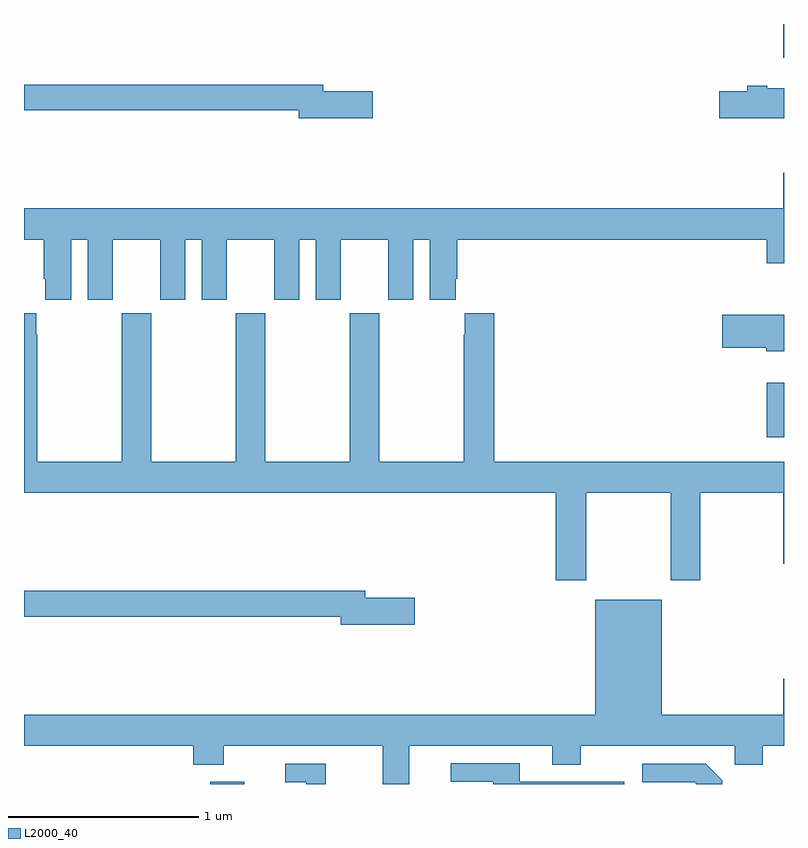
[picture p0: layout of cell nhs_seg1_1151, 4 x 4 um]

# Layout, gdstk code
import gdstk
lib = gdstk.Library(unit=1e-6, precision=1e-09)
def R(c, l, rs):  # rectangles x0, y0, x1, y1
    for r in rs: c.add(gdstk.rectangle(r[:2], r[2:], *l))
def P(c, l, *ps):  # polygons
    for p in ps: c.add(gdstk.Polygon(p, *l))
L2000_40 = (2000, 40)

nhs_seg1_1151 = lib.new_cell('nhs_seg1_1151')
R(nhs_seg1_1151, L2000_40, [(173.981,550.199,174.16,550.21), (176.909,552.024,177,552.31), (176.996,554.022,177,554.199)])
P(nhs_seg1_1151, L2000_40, [(174.835,553.844),(174.574,553.844),(174.574,553.88),(173,553.88),(173,553.744),(174.446,553.744),(174.446,553.702),(174.835,553.702)],
  [(177,553.861),(176.911,553.861),(176.911,553.874),(176.807,553.874),(176.807,553.844),(176.658,553.844),(176.658,553.702),(177,553.702)],
  [(173,553.064),(173.105,553.064),(173.105,552.859),(173.111,552.859),(173.111,552.747),(173.248,552.747),(173.248,553.064),(173.336,553.064),(173.336,552.747),(173.467,552.747),(173.467,553.064),(173.717,553.064),(173.717,552.747),(173.848,552.747),(173.848,553.064),(173.936,553.064),(173.936,552.747),(174.067,552.747),(174.067,553.064),(174.317,553.064),(174.317,552.747),(174.448,552.747),(174.448,553.064),(174.536,553.064),(174.536,552.747),(174.667,552.747),(174.667,553.064),(174.917,553.064),(174.917,552.747),(175.048,552.747),(175.048,553.064),(175.136,553.064),(175.136,552.747),(175.273,552.747),(175.273,552.859),(175.28,552.859),(175.28,553.064),(176.909,553.064),(176.909,552.94),(177,552.94),(177,553.417),(176.996,553.417),(176.996,553.228),(173,553.228)],
  [(177,552.67),(176.676,552.67),(176.676,552.494),(176.906,552.494),(176.906,552.476),(177,552.476)],
  [(175.475,552.676),(175.319,552.676),(175.319,552.563),(175.315,552.563),(175.315,551.896),(174.87,551.896),(174.87,552.676),(174.715,552.676),(174.715,551.896),(174.27,551.896),(174.27,552.676),(174.115,552.676),(174.115,551.896),(173.67,551.896),(173.67,552.676),(173.515,552.676),(173.515,551.896),(173.07,551.896),(173.07,552.563),(173.065,552.563),(173.065,552.676),(173,552.676),(173,551.732),(175.799,551.732),(175.799,551.271),(175.959,551.271),(175.959,551.732),(176.404,551.732),(176.404,551.271),(176.559,551.271),(176.559,551.732),(176.996,551.732),(176.996,551.358),(177,551.358),(177,551.896),(175.475,551.896)],
  [(175.057,551.18),(174.796,551.18),(174.796,551.216),(173,551.216),(173,551.08),(174.668,551.08),(174.668,551.038),(175.057,551.038)],
  [(175.027,550.4),(175.781,550.4),(175.781,550.301),(175.929,550.301),(175.929,550.4),(176.742,550.4),(176.742,550.301),(176.889,550.301),(176.889,550.4),(177,550.4),(177,550.753),(176.996,550.753),(176.996,550.564),(176.356,550.564),(176.356,551.17),(176.006,551.17),(176.006,550.564),(173,550.564),(173,550.4),(173.891,550.4),(173.891,550.301),(174.051,550.301),(174.051,550.4),(174.887,550.4),(174.887,550.199),(175.027,550.199)],
  [(176.16,550.212),(175.609,550.212),(175.609,550.308),(175.245,550.308),(175.245,550.212),(175.469,550.212),(175.469,550.199),(176.16,550.199)],
  [(174.589,550.305),(174.375,550.305),(174.375,550.209),(174.485,550.209),(174.485,550.199),(174.589,550.199)],
  [(176.676,550.218),(176.589,550.305),(176.253,550.305),(176.253,550.209),(176.529,550.209),(176.539,550.199),(176.676,550.199)])

lib.write_gds('nhs_seg1_1151.gds')
